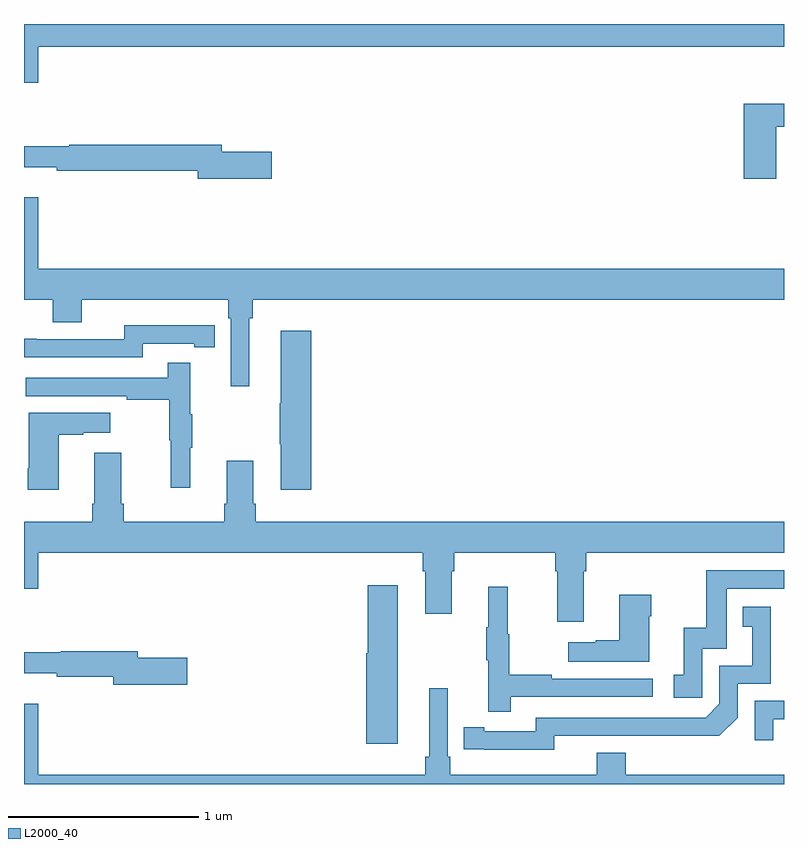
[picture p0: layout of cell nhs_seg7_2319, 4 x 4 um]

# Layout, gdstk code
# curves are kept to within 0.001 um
import gdstk
lib = gdstk.Library(unit=1e-6, precision=1e-09)
def P(c, l, *ps):  # polygons
    for p in ps: c.add(gdstk.Polygon(p, *l))
L2000_40 = (2000, 40)

nhs_seg7_2319 = lib.new_cell('nhs_seg7_2319')
P(nhs_seg7_2319, L2000_40, [(261.076,1069.88),(265,1069.88),(265,1070),(261,1070),(261,1069.692),(261.076,1069.692)],
  [(264.958,1069.458),(265,1069.458),(265,1069.579),(264.788,1069.579),(264.788,1069.185),(264.958,1069.185)],
  [(262.303,1069.328),(262.042,1069.328),(262.042,1069.364),(261.238,1069.364),(261.238,1069.357),(261,1069.357),(261,1069.247),(261.172,1069.247),(261.172,1069.228),(261.914,1069.228),(261.914,1069.186),(262.303,1069.186)],
  [(261,1069.087),(261,1068.548),(261.152,1068.548),(261.152,1068.431),(261.304,1068.431),(261.304,1068.548),(262.076,1068.548),(262.076,1068.452),(262.089,1068.452),(262.089,1068.093),(262.186,1068.093),(262.186,1068.452),(262.205,1068.452),(262.205,1068.548),(265,1068.548),(265,1068.712),(261.076,1068.712),(261.076,1069.087)],
  [(261.624,1068.318),(261.896,1068.318),(261.896,1068.298),(262.004,1068.298),(262.004,1068.414),(261.896,1068.414),(261.896,1068.415),(261.528,1068.415),(261.528,1068.342),(261.068,1068.342),(261.068,1068.344),(261,1068.344),(261,1068.246),(261.624,1068.246)],
  [(262.511,1068.385),(262.352,1068.385),(262.352,1068.005),(262.345,1068.005),(262.345,1067.788),(262.352,1067.788),(262.352,1067.55),(262.511,1067.55)],
  [(261.875,1067.771),(261.886,1067.771),(261.886,1067.945),(261.875,1067.945),(261.875,1068.217),(261.757,1068.217),(261.757,1068.138),(261.009,1068.138),(261.009,1068.042),(261.541,1068.042),(261.541,1068.022),(261.765,1068.022),(261.765,1067.808),(261.772,1067.808),(261.772,1067.559),(261.875,1067.559)],
  [(261.184,1067.839),(261.311,1067.839),(261.311,1067.849),(261.454,1067.849),(261.454,1067.953),(261.026,1067.953),(261.026,1067.662),(261.019,1067.662),(261.019,1067.55),(261.184,1067.55)],
  [(263.099,1067.12),(263.111,1067.12),(263.111,1066.896),(263.251,1066.896),(263.251,1067.12),(263.264,1067.12),(263.264,1067.216),(263.795,1067.216),(263.795,1067.12),(263.807,1067.12),(263.807,1066.854),(263.947,1066.854),(263.947,1067.12),(263.96,1067.12),(263.96,1067.216),(265,1067.216),(265,1067.38),(262.22,1067.38),(262.22,1067.476),(262.207,1067.476),(262.207,1067.701),(262.067,1067.701),(262.067,1067.476),(262.055,1067.476),(262.055,1067.38),(261.524,1067.38),(261.524,1067.476),(261.511,1067.476),(261.511,1067.743),(261.371,1067.743),(261.371,1067.476),(261.359,1067.476),(261.359,1067.38),(261,1067.38),(261,1067.028),(261.076,1067.028),(261.076,1067.216),(263.099,1067.216)],
  [(264.57,1066.713),(264.699,1066.713),(264.699,1067.028),(265,1067.028),(265,1067.124),(264.591,1067.124),(264.591,1066.822),(264.473,1066.822),(264.473,1066.575),(264.42,1066.575),(264.42,1066.455),(264.57,1066.455)],
  [(262.966,1067.047),(262.808,1067.047),(262.808,1066.689),(262.802,1066.689),(262.802,1066.212),(262.966,1066.212)],
  [(263.561,1066.458),(264.31,1066.458),(264.31,1066.554),(263.777,1066.554),(263.777,1066.574),(263.554,1066.574),(263.554,1066.788),(263.546,1066.788),(263.546,1067.038),(263.444,1067.038),(263.444,1066.825),(263.433,1066.825),(263.433,1066.651),(263.444,1066.651),(263.444,1066.38),(263.561,1066.38)],
  [(264.292,1066.883),(264.3,1066.883),(264.3,1066.996),(264.134,1066.996),(264.134,1066.757),(264.008,1066.757),(264.008,1066.747),(263.865,1066.747),(263.865,1066.643),(264.292,1066.643)],
  [(263.79,1066.254),(264.658,1066.253),(264.756,1066.35),(264.756,1066.527),(264.93,1066.527),(264.93,1066.933),(264.784,1066.933),(264.784,1066.827),(264.833,1066.827),(264.833,1066.623),(264.66,1066.623),(264.66,1066.422),(264.588,1066.35),(263.694,1066.35),(263.694,1066.278),(263.422,1066.278),(263.422,1066.298),(263.314,1066.298),(263.314,1066.182),(263.79,1066.181)],
  [(261.859,1066.664),(261.598,1066.664),(261.598,1066.7),(261.194,1066.7),(261.194,1066.693),(261,1066.693),(261,1066.583),(261.172,1066.583),(261.172,1066.564),(261.47,1066.564),(261.47,1066.522),(261.859,1066.522)],
  [(265,1066.048),(264.167,1066.048),(264.167,1066.165),(264.014,1066.165),(264.014,1066.048),(263.243,1066.048),(263.243,1066.144),(263.229,1066.144),(263.229,1066.504),(263.132,1066.504),(263.132,1066.144),(263.113,1066.144),(263.113,1066.048),(261.076,1066.048),(261.076,1066.423),(261,1066.423),(261,1066),(265,1066)],
  [(264.943,1066.341),(265,1066.341),(265,1066.437),(264.846,1066.437),(264.846,1066.23),(264.943,1066.23)])

lib.write_gds('nhs_seg7_2319.gds')
